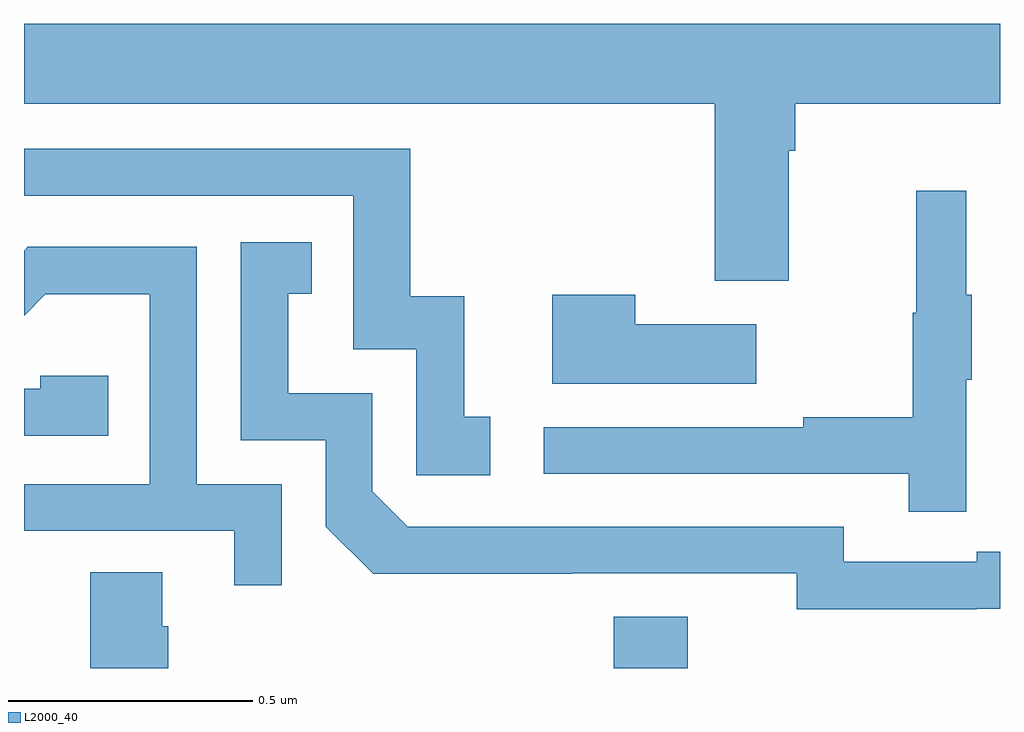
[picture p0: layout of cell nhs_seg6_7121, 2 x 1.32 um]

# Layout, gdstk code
import gdstk
lib = gdstk.Library(unit=1e-6, precision=1e-09)
def R(c, l, rs):  # rectangles x0, y0, x1, y1
    for r in rs: c.add(gdstk.rectangle(r[:2], r[2:], *l))
def P(c, l, *ps):  # polygons
    for p in ps: c.add(gdstk.Polygon(p, *l))
L2000_40 = (2000, 40)

nhs_seg6_7121 = lib.new_cell('nhs_seg6_7121')
R(nhs_seg6_7121, L2000_40, [(205.208,959.5,205.36,959.605)])
P(nhs_seg6_7121, L2000_40, [(205.567,960.56),(205.58,960.56),(205.58,960.656),(206,960.656),(206,960.82),(204,960.82),(204,960.656),(205.415,960.656),(205.415,960.294),(205.567,960.294)],
  [(204.955,960.015),(204.902,960.015),(204.902,960.262),(204.791,960.262),(204.791,960.564),(204,960.564),(204,960.468),(204.675,960.468),(204.675,960.153),(204.804,960.153),(204.804,959.895),(204.955,959.895)],
  [(205.931,960.091),(205.942,960.091),(205.942,960.265),(205.931,960.265),(205.931,960.478),(205.828,960.478),(205.828,960.228),(205.821,960.228),(205.821,960.014),(205.597,960.014),(205.597,959.994),(205.065,959.994),(205.065,959.898),(205.813,959.898),(205.813,959.82),(205.931,959.82)],
  [(205.952,959.622),(206,959.622),(206,959.738),(205.952,959.738),(205.952,959.718),(205.68,959.718),(205.68,959.79),(204.786,959.79),(204.714,959.862),(204.714,960.063),(204.541,960.063),(204.541,960.267),(204.59,960.267),(204.59,960.373),(204.444,960.373),(204.444,959.967),(204.618,959.967),(204.618,959.79),(204.716,959.693),(205.124,959.693),(205.124,959.694),(205.584,959.694),(205.584,959.621),(205.952,959.621)],
  [(204.528,959.877),(204.354,959.877),(204.354,960.363),(204.008,960.363),(204,960.355),(204,960.222),(204.044,960.266),(204.258,960.266),(204.258,959.877),(204,959.877),(204,959.781),(204.431,959.781),(204.431,959.67),(204.528,959.67)],
  [(205.501,960.205),(205.253,960.205),(205.253,960.265),(205.082,960.265),(205.082,960.083),(205.501,960.083)],
  [(204.173,960.099),(204.033,960.099),(204.033,960.072),(204,960.072),(204,959.976),(204.173,959.976)],
  [(204.296,959.586),(204.283,959.586),(204.283,959.696),(204.136,959.696),(204.136,959.5),(204.296,959.5)])

lib.write_gds('nhs_seg6_7121.gds')
